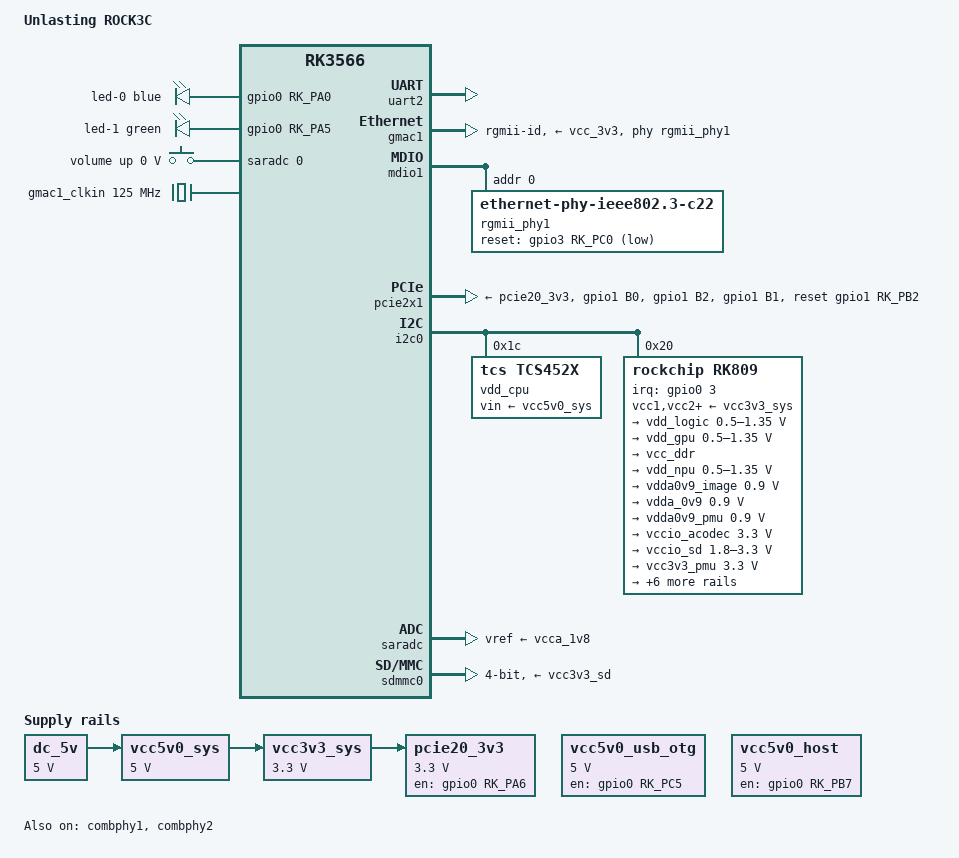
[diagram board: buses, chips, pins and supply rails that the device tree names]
// SPDX-License-Identifier: (GPL-2.0+ OR MIT)
/*
 * Copyright (c) 2024 Radxa Limited
 * Copyright (c) 2024 unlasting
 */

/dts-v1/;
#include <dt-bindings/gpio/gpio.h>
#include <dt-bindings/leds/common.h>
#include <dt-bindings/pinctrl/rockchip.h>
#include <dt-bindings/soc/rockchip,vop2.h>
#include <dt-bindings/input/input.h>
#include "rk3566.dtsi"

/ {
	model = "Unlasting ROCK3C";
	compatible = "radxa,rock3c", "rockchip,rk3566";

	aliases {
		ethernet0 = &gmac1;
		mmc0 = &sdhci;
		mmc1 = &sdmmc0;
	};

	chosen: chosen {
		stdout-path = "serial2:1500000n8";
	};

	/* power setting */
	dc_5v: dc-5v-regulator {
		compatible = "regulator-fixed";
		regulator-name = "dc_5v";
		regulator-always-on;
		regulator-boot-on;
		regulator-min-microvolt = <5000000>;
		regulator-max-microvolt = <5000000>;
	};

	vcc5v0_sys: vcc5v0-sys {
		compatible = "regulator-fixed";
		regulator-name = "vcc5v0_sys";
		regulator-always-on;
		regulator-boot-on;
		regulator-min-microvolt = <5000000>;
		regulator-max-microvolt = <5000000>;
		vin-supply = <&dc_5v>;
	};

	vcc3v3_sys: vcc3v3-sys {
		compatible = "regulator-fixed";
		regulator-name = "vcc3v3_sys";
		regulator-always-on;
		regulator-boot-on;
		regulator-min-microvolt = <3300000>;
		regulator-max-microvolt = <3300000>;
		vin-supply = <&vcc5v0_sys>;
	};
	/* usb power */
	vcc5v0_usb_otg: vcc5v0-usb-otg-regulator {
		compatible = "regulator-fixed";
		enable-active-high;
		gpio = <&gpio0 RK_PC5 GPIO_ACTIVE_HIGH>;
		pinctrl-names = "default";
		pinctrl-0 = <&vcc5v0_usb_otg_en>;
		regulator-name = "vcc5v0_usb_otg";
		regulator-always-on;
		regulator-boot-on;
		regulator-min-microvolt = <5000000>;
		regulator-max-microvolt = <5000000>;
	};

	vcc5v0_host: vcc5v0-host-regulator {
		compatible = "regulator-fixed";
		enable-active-high;
		gpios = <&gpio0 RK_PB7 GPIO_ACTIVE_HIGH>;
		pinctrl-names = "default";
		pinctrl-0 = <&vcc5v0_host_en>;
		regulator-name = "vcc5v0_host";
		regulator-always-on;
		regulator-boot-on;
		regulator-min-microvolt = <5000000>;
		regulator-max-microvolt = <5000000>;
	};
	/* pcie power */
	pcie20_3v3: pcie20-3v3-regulator {
		compatible = "regulator-fixed";
		/* en pin, check dcdc datasheet!? */
		enable-active-high;
		gpios = <&gpio0 RK_PA6 GPIO_ACTIVE_HIGH>;
		pinctrl-names = "default";
		pinctrl-0 = <&pcie20_3v3_en>;
		regulator-name = "pcie20_3v3";
		regulator-min-microvolt = <3300000>;
		regulator-max-microvolt = <3300000>;
		regulator-always-on;
		regulator-boot-on;
		startup-delay-us = <5000>;
		vin-supply = <&vcc3v3_sys>;
	};

	leds {
		compatible = "gpio-leds";
		pinctrl-names = "default";
		pinctrl-0 = <&pi_nled_activity &user_led2>;

		led-0 {
			color = <LED_COLOR_ID_BLUE>;
			function = LED_FUNCTION_ACTIVITY;
			gpios = <&gpio0 RK_PA0 GPIO_ACTIVE_HIGH>;
			linux,default-trigger = "heartbeat";
		};

		led-1 {
			color = <LED_COLOR_ID_GREEN>;
			function = LED_FUNCTION_STATUS;
			gpios = <&gpio0 RK_PA5 GPIO_ACTIVE_HIGH>;
			linux,default-trigger = "default-on";
		};
	};

	adc-keys {
		compatible = "adc-keys";
		io-channels = <&saradc 0>;
		io-channel-names = "buttons";
		keyup-threshold-microvolt = <1800000>;
		u-boot,dm-spl;
		status = "okay";

		volumeup-key {
			u-boot,dm-spl;
			linux,code = <KEY_VOLUMEUP>;
			label = "volume up";
			press-threshold-microvolt = <9>;
		};
	};

	gmac1_clkin: external-gmac1-clock {
		compatible = "fixed-clock";
		clock-frequency = <125000000>;
		clock-output-names = "gmac1_clkin";
		#clock-cells = <0>;
	};
};

&uart2 {
	clock-frequency = <24000000>;
	bootph-all;
	status = "okay";
};

&gpio0 {
	status = "okay";
};

&gpio1 {
	status = "okay";
};

&gpio3 {
	status = "okay";
};

&gmac1 {
	assigned-clocks = <&cru SCLK_GMAC1_RX_TX>, <&cru SCLK_GMAC1>;
	assigned-clock-parents = <&cru SCLK_GMAC1_RGMII_SPEED>, <&gmac1_clkin>;
	clock_in_out = "input";
	phy-handle = <&rgmii_phy1>;
	phy-mode = "rgmii-id";
	phy-supply = <&vcc_3v3>;
	pinctrl-names = "default";
	pinctrl-0 = <&gmac1m1_miim
		     &gmac1m1_tx_bus2
		     &gmac1m1_rx_bus2
		     &gmac1m1_rgmii_clk
		     &gmac1m1_clkinout
		     &gmac1m1_rgmii_bus>;
	status = "okay";
};

&mdio1 {
	rgmii_phy1: ethernet-phy@0 {
		compatible = "ethernet-phy-ieee802.3-c22";
		reg = <0x0>;
		pinctrl-names = "default";
		pinctrl-0 = <&eth_phy_rst>;
		reset-assert-us = <20000>;
		reset-deassert-us = <100000>;
		reset-gpios = <&gpio3 RK_PC0 GPIO_ACTIVE_LOW>;
	};
};

&pcie2x1 {
	reset-gpios = <&gpio1 RK_PB2 GPIO_ACTIVE_HIGH>;
	vpcie3v3-supply = <&pcie20_3v3>;
	pinctrl-0 = <&pcie20m2_pins>;
	status = "okay";
};

&i2c0 {
	status = "okay";

	vdd_cpu: tcs4525@1c {
		compatible = "tcs,tcs452x";
		reg = <0x1c>;
		vin-supply = <&vcc5v0_sys>;
		regulator-compatible = "fan53555-reg";
		regulator-name = "vdd_cpu";
		regulator-min-microvolt = <712500>;
		regulator-max-microvolt = <1390000>;
		regulator-init-microvolt = <900000>;
		regulator-ramp-delay = <2300>;
		fcs,suspend-voltage-selector = <1>;
		regulator-boot-on;
		regulator-always-on;
		regulator-state-mem {
			regulator-off-in-suspend;
		};
	};

	rk809: pmic@20 {
		status = "okay";
		compatible = "rockchip,rk809";
		reg = <0x20>;
		interrupt-parent = <&gpio0>;
		interrupts = <3 IRQ_TYPE_LEVEL_LOW>;

		pinctrl-names = "default", "pmic-sleep",
				"pmic-power-off", "pmic-reset";
		pinctrl-0 = <&pmic_int>;
		pinctrl-1 = <&soc_slppin_slp>, <&rk817_slppin_slp>;
		pinctrl-2 = <&soc_slppin_gpio>, <&rk817_slppin_pwrdn>;
		pinctrl-3 = <&soc_slppin_gpio>, <&rk817_slppin_rst>;

		rockchip,system-power-controller;
		wakeup-source;
		#clock-cells = <1>;
		clock-output-names = "rk808-clkout1", "rk808-clkout2";
		//fb-inner-reg-idxs = <2>;
		/* 1: rst regs (default in codes), 0: rst the pmic */
		pmic-reset-func = <0>;
		/* not save the PMIC_POWER_EN register in uboot */
		not-save-power-en = <1>;

		vcc1-supply = <&vcc3v3_sys>;
		vcc2-supply = <&vcc3v3_sys>;
		vcc3-supply = <&vcc3v3_sys>;
		vcc4-supply = <&vcc3v3_sys>;
		vcc5-supply = <&vcc3v3_sys>;
		vcc6-supply = <&vcc3v3_sys>;
		vcc7-supply = <&vcc3v3_sys>;
		vcc8-supply = <&vcc3v3_sys>;
		vcc9-supply = <&vcc3v3_sys>;

		pwrkey {
			status = "okay";
		};

		pinctrl_rk8xx: pinctrl_rk8xx {
			gpio-controller;
			#gpio-cells = <2>;

			rk817_slppin_null: rk817_slppin_null {
				pins = "gpio_slp";
				function = "pin_fun0";
			};

			rk817_slppin_slp: rk817_slppin_slp {
				pins = "gpio_slp";
				function = "pin_fun1";
			};

			rk817_slppin_pwrdn: rk817_slppin_pwrdn {
				pins = "gpio_slp";
				function = "pin_fun2";
			};

			rk817_slppin_rst: rk817_slppin_rst {
				pins = "gpio_slp";
				function = "pin_fun3";
			};
		};

		regulators {
			vdd_logic: DCDC_REG1 {
				regulator-always-on;
				regulator-boot-on;
				regulator-min-microvolt = <500000>;
				regulator-max-microvolt = <1350000>;
				regulator-init-microvolt = <900000>;
				regulator-ramp-delay = <6001>;
				regulator-initial-mode = <0x2>;
				regulator-name = "vdd_logic";
				regulator-state-mem {
					regulator-on-in-suspend;
				};
			};

			vdd_gpu: DCDC_REG2 {
				regulator-always-on;
				regulator-boot-on;
				regulator-min-microvolt = <500000>;
				regulator-max-microvolt = <1350000>;
				regulator-init-microvolt = <900000>;
				regulator-ramp-delay = <6001>;
				regulator-initial-mode = <0x2>;
				regulator-name = "vdd_gpu";
				regulator-state-mem {
					regulator-on-in-suspend;
				};
			};

			vcc_ddr: DCDC_REG3 {
				regulator-always-on;
				regulator-boot-on;
				regulator-initial-mode = <0x2>;
				regulator-name = "vcc_ddr";
				regulator-state-mem {
					regulator-on-in-suspend;
				};
			};

			vdd_npu: DCDC_REG4 {
				regulator-always-on;
				regulator-boot-on;
				regulator-min-microvolt = <500000>;
				regulator-max-microvolt = <1350000>;
				regulator-init-microvolt = <900000>;
				regulator-ramp-delay = <6001>;
				regulator-initial-mode = <0x2>;
				regulator-name = "vdd_npu";
				regulator-state-mem {
					regulator-on-in-suspend;
				};
			};

			vdda0v9_image: LDO_REG1 {
				regulator-boot-on;
				regulator-always-on;
				regulator-min-microvolt = <900000>;
				regulator-max-microvolt = <900000>;
				regulator-name = "vdda0v9_image";
				regulator-state-mem {
					regulator-off-in-suspend;
				};
			};

			vdda_0v9: LDO_REG2 {
				regulator-always-on;
				regulator-boot-on;
				regulator-min-microvolt = <900000>;
				regulator-max-microvolt = <900000>;
				regulator-name = "vdda_0v9";
				regulator-state-mem {
					regulator-off-in-suspend;
				};
			};

			vdda0v9_pmu: LDO_REG3 {
				regulator-always-on;
				regulator-boot-on;
				regulator-min-microvolt = <900000>;
				regulator-max-microvolt = <900000>;
				regulator-name = "vdda0v9_pmu";
				regulator-state-mem {
					regulator-on-in-suspend;
					regulator-suspend-microvolt = <900000>;
				};
			};

			vccio_acodec: LDO_REG4 {
				regulator-always-on;
				regulator-boot-on;
				regulator-min-microvolt = <3300000>;
				regulator-max-microvolt = <3300000>;
				regulator-name = "vccio_acodec";
				regulator-state-mem {
					regulator-off-in-suspend;
				};
			};

			vccio_sd: LDO_REG5 {
				regulator-always-on;
				regulator-boot-on;
				regulator-min-microvolt = <1800000>;
				regulator-max-microvolt = <3300000>;
				regulator-name = "vccio_sd";
				regulator-state-mem {
					regulator-off-in-suspend;
				};
			};

			vcc3v3_pmu: LDO_REG6 {
				regulator-always-on;
				regulator-boot-on;
				regulator-min-microvolt = <3300000>;
				regulator-max-microvolt = <3300000>;
				regulator-name = "vcc3v3_pmu";
				regulator-state-mem {
					regulator-on-in-suspend;
					regulator-suspend-microvolt = <3300000>;
				};
			};

			vcca_1v8: LDO_REG7 {
				regulator-always-on;
				regulator-boot-on;
				regulator-min-microvolt = <1800000>;
				regulator-max-microvolt = <1800000>;
				regulator-name = "vcca_1v8";
				regulator-state-mem {
					regulator-off-in-suspend;
				};
			};

			vcca1v8_pmu: LDO_REG8 {
				regulator-always-on;
				regulator-boot-on;
				regulator-min-microvolt = <1800000>;
				regulator-max-microvolt = <1800000>;
				regulator-name = "vcca1v8_pmu";
				regulator-state-mem {
					regulator-on-in-suspend;
					regulator-suspend-microvolt = <1800000>;
				};
			};

			vcca1v8_image: LDO_REG9 {
				regulator-always-on;
				regulator-boot-on;
				regulator-min-microvolt = <1800000>;
				regulator-max-microvolt = <1800000>;
				regulator-name = "vcca1v8_image";
				regulator-state-mem {
					regulator-off-in-suspend;
				};
			};

			vcc_1v8: DCDC_REG5 {
				regulator-always-on;
				regulator-boot-on;
				regulator-min-microvolt = <1800000>;
				regulator-max-microvolt = <1800000>;
				regulator-name = "vcc_1v8";
				regulator-state-mem {
					regulator-off-in-suspend;
				};
			};

			vcc_3v3: SWITCH_REG1 {
				regulator-always-on;
				regulator-boot-on;
				regulator-name = "vcc_3v3";
				regulator-state-mem {
					regulator-off-in-suspend;
				};
			};

			vcc3v3_sd: SWITCH_REG2 {
				regulator-always-on;
				regulator-boot-on;
				regulator-name = "vcc3v3_sd";
				regulator-state-mem {
					regulator-off-in-suspend;
				};
			};
		};
	};
};

&combphy1 {
	status = "okay";
};

&combphy2 {
	status = "okay";
};

&cpu0 {
	cpu-supply = <&vdd_cpu>;
};

&cpu1 {
	cpu-supply = <&vdd_cpu>;
};

&cpu2 {
	cpu-supply = <&vdd_cpu>;
};

&cpu3 {
	cpu-supply = <&vdd_cpu>;
};

&pmu_io_domains {
	status = "okay";
	pmuio2-supply = <&vcca1v8_pmu>;
	vccio1-supply = <&vccio_acodec>;
	vccio3-supply = <&vccio_sd>;
	vccio4-supply = <&vcc_1v8>;
	vccio5-supply = <&vcc_3v3>;
	vccio6-supply = <&vcc_3v3>;
	vccio7-supply = <&vcc_3v3>;
};

/*
&usb2phy1 {
	status = "okay";
};

&usb_host0_ehci {
	status = "okay";
};

&usb_host0_ohci {
	status = "okay";
};

&usb_host1_ehci {
	status = "okay";
};

&usb_host1_ohci {
	status = "okay";
};
*/

&saradc {
	vref-supply = <&vcca_1v8>;
	status = "okay";
};

&sdmmc0 {
	max-frequency = <150000000>;
	no-sdio;
	no-mmc;
	bus-width = <4>;
	cap-mmc-highspeed;
	cap-sd-highspeed;
	disable-wp;
	sd-uhs-sdr104;
	vmmc-supply = <&vcc3v3_sd>;
	vqmmc-supply = <&vccio_sd>;
	pinctrl-names = "default";
	pinctrl-0 = <&sdmmc0_bus4 &sdmmc0_clk &sdmmc0_cmd &sdmmc0_det>;
	status = "okay";
};

&pinctrl {
	ethernet {
		eth_phy_rst: eth-phy-rst {
			rockchip,pins = <3 RK_PC0 RK_FUNC_GPIO &pcfg_pull_none>;
		};
	};

	leds {
		pi_nled_activity: pi-nled-activity {
			rockchip,pins = <4 RK_PA4 RK_FUNC_GPIO &pcfg_pull_none>;
		};
		user_led2: user-led2 {
			rockchip,pins = <0 RK_PA6 RK_FUNC_GPIO &pcfg_pull_none>;
		};
	};

	sdcard {
		sdmmc_pwren: sdmmc-pwren {
			rockchip,pins = <0 RK_PA4 RK_FUNC_GPIO &pcfg_pull_none>;
		};
	};

	usb {
		vcc5v0_usb_otg_en: vcc5v0-usb-otg-en {
			rockchip,pins = <0 RK_PC5 RK_FUNC_GPIO &pcfg_pull_none>;
		};

		vcc5v0_host_en: vcc5v0-host-en {
			rockchip,pins = <0 RK_PB7 RK_FUNC_GPIO &pcfg_pull_none>;
		};
	};

	pcie20 {

		pcie20_3v3_en: pcie20-3v3-en {
			rockchip,pins = <0 RK_PA6 RK_FUNC_GPIO &pcfg_pull_none>;
		};

		pcie20m2_pins: pcie20m2-pins {
			rockchip,pins =
				/* pcie20_clkreqnm2 */
				<1 RK_PB0 4 &pcfg_pull_none>,
				/* pcie20_perstnm2 */
				<1 RK_PB2 4 &pcfg_pull_none>,
				/* pcie20_wakenm2 */
				<1 RK_PB1 4 &pcfg_pull_none>;
		};
	};

	pmic {
		pmic_int: pmic_int {
			rockchip,pins =
				<0 RK_PA3 RK_FUNC_GPIO &pcfg_pull_up>;
		};

		soc_slppin_gpio: soc_slppin_gpio {
			rockchip,pins =
				<0 RK_PA2 RK_FUNC_GPIO &pcfg_output_low>;
		};

		soc_slppin_slp: soc_slppin_slp {
			rockchip,pins =
				<0 RK_PA2 RK_FUNC_1 &pcfg_pull_up>;
		};

		soc_slppin_rst: soc_slppin_rst {
			rockchip,pins =
				<0 RK_PA2 RK_FUNC_2 &pcfg_pull_none>;
		};
	};
};
